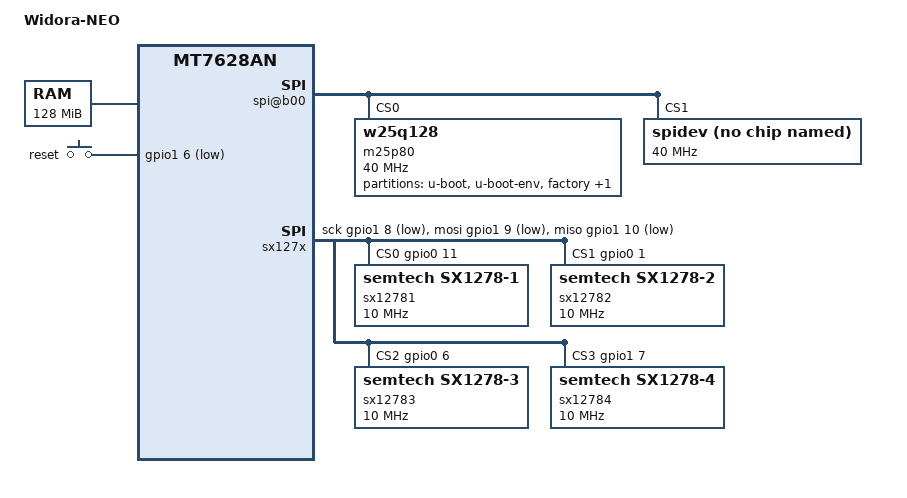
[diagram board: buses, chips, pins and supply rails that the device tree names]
/dts-v1/;

/include/ "mt7628an.dtsi"

/ {
    compatible = "mediatek,widora", "mediatek,mt7628an-soc";
    model = "Widora-NEO";

    chosen {
        bootargs = "console=ttyS2,115200";
    };

    memory@0 {
        device_type = "memory";
        reg = <0x0 0x8000000>;
    };

    pinctrl {
        state_default: pinctrl0 {
            gpio {
                ralink,group = "gpio";
                ralink,function = "gpio";
            };
            perst {
                ralink,group = "perst";
                ralink,function = "gpio";
            };
            refclk {
                ralink,group = "refclk";
                ralink,function = "gpio";
            };
            i2s {
                ralink,group = "i2s";
                ralink,function = "gpio";
            };
            spis {
                ralink,group = "spis";
                ralink,function = "gpio";
            };
            wled_an {
                ralink,group = "wled_an";
                ralink,function = "wled_an";
            };
            ephyk_p1 {
                ralink,group = "ephyk_p1";
                ralink,function = "gpio";
            };
            ephyk_p2 {
                ralink,group = "ephyk_p2";
                ralink,function = "gpio";
            };
            ephyk_p3 {
                ralink,group = "ephyk_p3";
                ralink,function = "gpio";
            };
            ephyk_p4 {
                ralink,group = "ephyk_p4";
                ralink,function = "gpio";
            };
            ephy_p1 {
                ralink,group = "ephy_p1";
                ralink,function = "gpio";
            };
            ephy_p2 {
                ralink,group = "ephy_p2";
                ralink,function = "gpio";
            };
            ephy_p3 {
                ralink,group = "ephy_p3";
                ralink,function = "gpio";
            };
            ephy_p4 {
                ralink,group = "ephy_p4";
                ralink,function = "gpio";
            };
            wdt {
                ralink,group = "wdt";
                ralink,function = "gpio";
            };
            pwm0 {
                ralink,group = "pwm0";
                ralink,function = "gpio";
            };
            pwm1 {
                ralink,group = "pwm1";
                ralink,function = "gpio";
            };
            sdxc {
                ralink,group = "sdmode";
                ralink,function = "gpio";
            };
            i2c {
                ralink,group = "i2c";
                ralink,function = "gpio";
            };
            spi_cs1 {
                ralink,group = "spi cs1";
                ralink,function = "gpio";
            };
        };
    };

    palmbus@10000000 {
        spi@b00 {
            status = "okay";

            pinctrl-names = "default";
            pinctrl-0 = <&spi_pins>, <&spi_cs1_pins>;

            m25p80@0 {
                #address-cells = <1>;
                #size-cells = <1>;
                compatible = "w25q128";
                reg = <0 0>;
                linux,modalias = "m25p80", "w25q128";
                spi-max-frequency = <40000000>;
                m25p,chunked-io = <31>;

                partition@0 {
                    label = "u-boot";
                    reg = <0x0 0x30000>;
                    read-only;
                };

                partition@30000 {
                    label = "u-boot-env";
                    reg = <0x30000 0x10000>;
                };

                factory: partition@40000 {
                    label = "factory";
                    reg = <0x40000 0x10000>;
                };

                partition@50000 {
                    label = "firmware";
                    reg = <0x50000 0x0fb0000>;
                };
            };

            spidev@1 {
                #address-cells = <1>;
                #size-cells = <1>;
                compatible = "spidev";
                reg = <1 0>;
                spi-max-frequency = <40000000>;
            };
        };
    };

    ethernet@10100000 {
        mtd-mac-address = <&factory 0x28>;
    };
    pio-keys-polled {
        compatible = "gpio-keys-polled";
        #address-cells = <1>;
        #size-cells = <0>;
        poll-interval = <20>;
        wps {
            label = "reset";
            gpios = <&gpio1 6 1>;
            linux,code = <0x211>;
        };
    };
    sx127x {
        compatible = "spi-gpio";
        status = "okay";
        #address-cells = <0x1>;
        #size-cells = <0>;
        gpio-sck = <&gpio1 8 1>;
        gpio-miso = <&gpio1 10 1>;
        gpio-mosi = <&gpio1 9 1>;
        cs-gpios = <&gpio0 11 0>, <&gpio0 1 0>, <&gpio0 6 0>, <&gpio1 7 0>;
        //cs-gpios = <&gpio0 1 0>, <&gpio0 6 0>, <&gpio1 7 0>;
        num-chipselects = <4>;
        sx12781 {
            compatible = "semtech,sx1278-1";
            reg = <0>;
            spi-max-frequency = <10000000>;
        };
        sx12782 {
            compatible = "semtech,sx1278-2";
            reg = <1>;
            spi-max-frequency = <10000000>;
        };
        sx12783 {
            compatible = "semtech,sx1278-3";
            reg = <2>;
            spi-max-frequency = <10000000>;
        };
        sx12784 {
            compatible = "semtech,sx1278-4";
            reg = <3>;
            spi-max-frequency = <10000000>;
        };

    };
    //si44xx {
    //  compatible = "spi-gpio";
    //  status = "okay";
    //  #address-cells = <0x1>;
    //    #size-cells = <0>;
    //  gpio-sck = <&gpio0 25 1>;
    //  gpio-miso = <&gpio0 27 1>;
    //  gpio-mosi = <&gpio0 26 1>;
    //  num-chipselects = <1>;
    //  cs-gpios = <&gpio0 24 0>;
    //  si4438 {
    //      compatible = "silabs,si4438";
    //      reg = <0>;
    //      spi-max-frequency = <500000>;
    //  };
    //};
};
